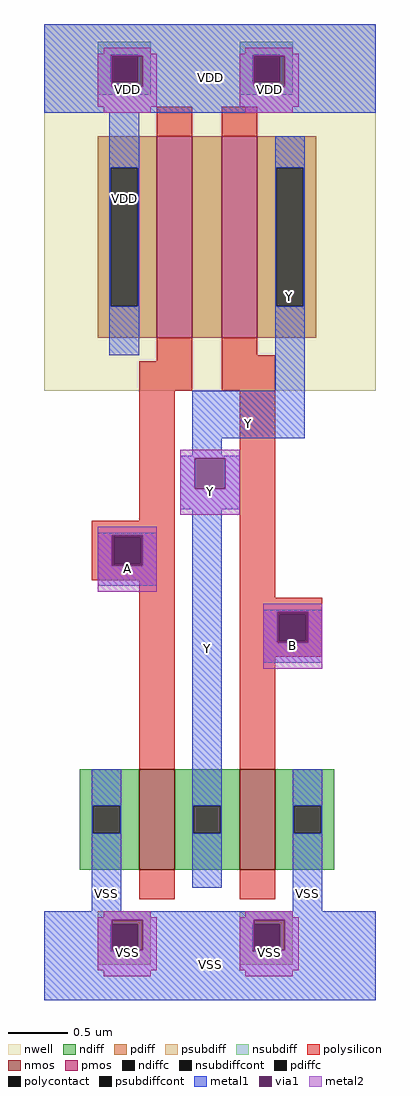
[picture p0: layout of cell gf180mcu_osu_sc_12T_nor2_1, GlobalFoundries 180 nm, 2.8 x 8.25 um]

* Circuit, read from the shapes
.subckt gf180mcu_osu_sc_12T_nor2_1 A Y B VDD VSS
XM1 Y A VSS VSS nfet_03v3 w=0.85u l=0.3u
XM2 VSS B Y VSS nfet_03v3 w=0.85u l=0.3u
XM3 n1 A VDD VDD pfet_03v3 w=1.7u l=0.3u
XM4 Y B n1 VDD pfet_03v3 w=1.7u l=0.3u
.ends

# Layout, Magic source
magic
tech gf180mcuA
magscale 1 10
<< nwell >>
rect 0 1000 560 1620
<< nmos >>
rect 160 190 220 360
rect 330 190 390 360
<< pmos >>
rect 190 1090 250 1430
rect 300 1090 360 1430
<< ndiff >>
rect 60 298 160 360
rect 60 252 82 298
rect 128 252 160 298
rect 60 190 160 252
rect 220 298 330 360
rect 220 252 252 298
rect 298 252 330 298
rect 220 190 330 252
rect 390 298 490 360
rect 390 252 422 298
rect 468 252 490 298
rect 390 190 490 252
<< pdiff >>
rect 90 1377 190 1430
rect 90 1143 112 1377
rect 158 1143 190 1377
rect 90 1090 190 1143
rect 250 1090 300 1430
rect 360 1377 460 1430
rect 360 1143 392 1377
rect 438 1143 460 1377
rect 360 1090 460 1143
<< ndiffc >>
rect 82 252 128 298
rect 252 252 298 298
rect 422 252 468 298
<< pdiffc >>
rect 112 1143 158 1377
rect 392 1143 438 1377
<< psubdiff >>
rect 90 98 180 120
rect 90 52 112 98
rect 158 52 180 98
rect 90 30 180 52
rect 330 98 420 120
rect 330 52 352 98
rect 398 52 420 98
rect 330 30 420 52
<< nsubdiff >>
rect 90 1568 180 1590
rect 90 1522 112 1568
rect 158 1522 180 1568
rect 90 1500 180 1522
rect 330 1568 420 1590
rect 330 1522 352 1568
rect 398 1522 420 1568
rect 330 1500 420 1522
<< psubdiffcont >>
rect 112 52 158 98
rect 352 52 398 98
<< nsubdiffcont >>
rect 112 1522 158 1568
rect 352 1522 398 1568
<< polysilicon >>
rect 190 1430 250 1480
rect 300 1430 360 1480
rect 190 1050 250 1090
rect 160 1000 250 1050
rect 300 1060 360 1090
rect 300 1000 390 1060
rect 160 780 220 1000
rect 80 753 220 780
rect 80 707 117 753
rect 163 707 220 753
rect 80 680 220 707
rect 160 360 220 680
rect 330 650 390 1000
rect 330 623 470 650
rect 330 577 397 623
rect 443 577 470 623
rect 330 550 470 577
rect 330 360 390 550
rect 160 140 220 190
rect 330 140 390 190
<< polycontact >>
rect 117 707 163 753
rect 397 577 443 623
<< metal1 >>
rect 0 1568 560 1620
rect 0 1522 112 1568
rect 158 1566 352 1568
rect 398 1566 560 1568
rect 166 1522 352 1566
rect 0 1514 114 1522
rect 166 1514 354 1522
rect 406 1514 560 1566
rect 0 1470 560 1514
rect 110 1377 160 1470
rect 110 1143 112 1377
rect 158 1143 160 1377
rect 110 1060 160 1143
rect 390 1377 440 1430
rect 390 1143 392 1377
rect 438 1143 440 1377
rect 390 1000 440 1143
rect 250 920 440 1000
rect 250 890 300 920
rect 230 886 330 890
rect 230 834 254 886
rect 306 834 330 886
rect 230 800 330 834
rect 90 756 190 760
rect 90 704 114 756
rect 166 704 190 756
rect 90 670 190 704
rect 80 298 130 360
rect 80 252 82 298
rect 128 252 130 298
rect 80 120 130 252
rect 250 298 300 800
rect 370 626 470 630
rect 370 574 394 626
rect 446 574 470 626
rect 370 540 470 574
rect 250 252 252 298
rect 298 252 300 298
rect 250 160 300 252
rect 420 298 470 360
rect 420 252 422 298
rect 468 252 470 298
rect 420 120 470 252
rect 0 106 560 120
rect 0 98 114 106
rect 166 98 354 106
rect 0 52 112 98
rect 166 54 352 98
rect 406 54 560 106
rect 158 52 352 54
rect 398 52 560 54
rect 0 -30 560 52
<< via1 >>
rect 114 1522 158 1566
rect 158 1522 166 1566
rect 354 1522 398 1566
rect 398 1522 406 1566
rect 114 1514 166 1522
rect 354 1514 406 1522
rect 254 834 306 886
rect 114 753 166 756
rect 114 707 117 753
rect 117 707 163 753
rect 163 707 166 753
rect 114 704 166 707
rect 394 623 446 626
rect 394 577 397 623
rect 397 577 443 623
rect 443 577 446 623
rect 394 574 446 577
rect 114 98 166 106
rect 354 98 406 106
rect 114 54 158 98
rect 158 54 166 98
rect 354 54 398 98
rect 398 54 406 98
<< metal2 >>
rect 100 1570 180 1580
rect 340 1570 420 1580
rect 90 1566 190 1570
rect 90 1514 114 1566
rect 166 1514 190 1566
rect 90 1480 190 1514
rect 330 1566 430 1570
rect 330 1514 354 1566
rect 406 1514 430 1566
rect 330 1480 430 1514
rect 100 1470 180 1480
rect 340 1470 420 1480
rect 230 886 330 900
rect 230 834 254 886
rect 306 834 330 886
rect 230 790 330 834
rect 90 756 190 770
rect 90 704 114 756
rect 166 704 190 756
rect 90 660 190 704
rect 370 626 470 640
rect 370 574 394 626
rect 446 574 470 626
rect 370 530 470 574
rect 100 110 180 120
rect 340 110 420 120
rect 90 106 190 110
rect 90 54 114 106
rect 166 54 190 106
rect 90 20 190 54
rect 330 106 430 110
rect 330 54 354 106
rect 406 54 430 106
rect 330 20 430 54
rect 100 10 180 20
rect 340 10 420 20
<< labels >>
rlabel metal2 s 100 1470 180 1550 4 VDD
port 8 nsew power bidirectional abutment
rlabel metal2 s 100 10 180 90 4 VSS
port 9 nsew ground bidirectional
rlabel metal2 s 90 660 190 740 4 A
port 1 nsew signal input
rlabel metal2 s 230 790 330 870 4 Y
port 2 nsew signal output
rlabel metal2 s 370 530 470 610 4 B
port 3 nsew signal input
rlabel metal1 s 90 670 190 730 1 A
port 1 nsew signal input
rlabel metal1 s 370 540 470 600 1 B
port 3 nsew signal input
rlabel metal2 s 90 1480 190 1540 1 VDD
port 8 nsew power bidirectional abutment
rlabel metal2 s 340 1470 420 1550 1 VDD
port 8 nsew power bidirectional abutment
rlabel metal2 s 330 1480 430 1540 1 VDD
port 8 nsew power bidirectional abutment
rlabel metal1 s 110 1060 160 1590 1 VDD
port 8 nsew power bidirectional abutment
rlabel metal1 s 0 1470 560 1590 1 VDD
port 8 nsew power bidirectional abutment
rlabel metal2 s 90 20 190 80 1 VSS
port 9 nsew ground bidirectional
rlabel metal2 s 340 10 420 90 1 VSS
port 9 nsew ground bidirectional
rlabel metal2 s 330 20 430 80 1 VSS
port 9 nsew ground bidirectional
rlabel metal1 s 80 -30 130 330 1 VSS
port 9 nsew ground bidirectional
rlabel metal1 s 420 -30 470 330 1 VSS
port 9 nsew ground bidirectional
rlabel metal1 s 0 -30 560 90 1 VSS
port 9 nsew ground bidirectional
rlabel metal1 s 250 160 300 970 1 Y
port 2 nsew signal output
rlabel metal1 s 230 800 330 860 1 Y
port 2 nsew signal output
rlabel metal1 s 250 920 440 970 1 Y
port 2 nsew signal output
rlabel metal1 s 390 920 440 1400 1 Y
port 2 nsew signal output
<< properties >>
string FIXED_BBOX 0 -30 560 1590
string GDS_END 411718
string GDS_FILE $PDKPATH/libs.ref/gf180mcu_osu_sc_12T/gds/gf180mcu_osu_sc_12T.gds
string GDS_START 406528
string LEFclass CORE
string LEFsite GF018hv5v_mcu_sc7
string LEFsymmetry X Y
<< end >>
